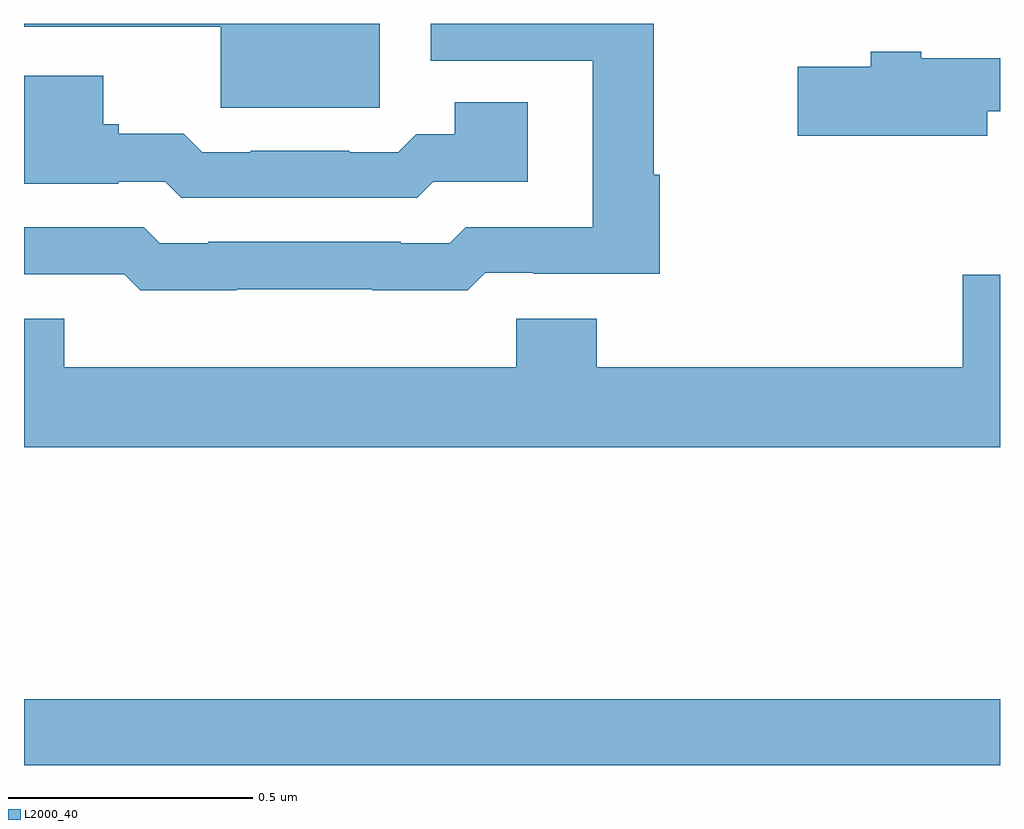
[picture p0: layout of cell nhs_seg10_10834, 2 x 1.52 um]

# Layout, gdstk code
import gdstk
lib = gdstk.Library(unit=1e-6, precision=1e-09)
def R(c, l, rs):  # rectangles x0, y0, x1, y1
    for r in rs: c.add(gdstk.rectangle(r[:2], r[2:], *l))
def P(c, l, *ps):  # polygons
    for p in ps: c.add(gdstk.Polygon(p, *l))
L2000_40 = (2000, 40)

nhs_seg10_10834 = lib.new_cell('nhs_seg10_10834')
R(nhs_seg10_10834, L2000_40, [(247,1316.98,249,1317.116)])
P(nhs_seg10_10834, L2000_40, [(247.436,1317.956),(247.714,1317.956),(247.714,1317.954),(247.909,1317.954),(247.945,1317.99),(248.044,1317.99),(248.044,1317.987),(248.303,1317.987),(248.303,1318.19),(248.29,1318.19),(248.29,1318.5),(247.833,1318.5),(247.833,1318.424),(248.165,1318.424),(248.165,1318.083),(247.905,1318.083),(247.872,1318.05),(247.772,1318.05),(247.772,1318.053),(247.378,1318.053),(247.378,1318.05),(247.278,1318.05),(247.245,1318.083),(247,1318.083),(247,1317.986),(247.205,1317.986),(247.238,1317.954),(247.436,1317.954)],
  [(247.729,1318.5),(247,1318.5),(247,1318.494),(247.403,1318.494),(247.403,1318.328),(247.729,1318.328)],
  [(248.974,1318.32),(249,1318.32),(249,1318.429),(248.839,1318.429),(248.839,1318.442),(248.735,1318.442),(248.735,1318.412),(248.586,1318.412),(248.586,1318.27),(248.974,1318.27)],
  [(247.839,1318.176),(248.032,1318.176),(248.032,1318.339),(247.883,1318.339),(247.883,1318.273),(247.804,1318.273),(247.767,1318.236),(247.667,1318.236),(247.667,1318.239),(247.465,1318.239),(247.465,1318.236),(247.365,1318.236),(247.327,1318.274),(247.194,1318.274),(247.194,1318.294),(247.162,1318.294),(247.162,1318.393),(247,1318.393),(247,1318.172),(247.193,1318.172),(247.193,1318.176),(247.289,1318.176),(247.322,1318.143),(247.806,1318.143)],
  [(249,1317.985),(248.924,1317.985),(248.924,1317.796),(248.174,1317.796),(248.174,1317.895),(248.009,1317.895),(248.009,1317.796),(247.082,1317.796),(247.082,1317.895),(247,1317.895),(247,1317.632),(249,1317.632)])

lib.write_gds('nhs_seg10_10834.gds')
